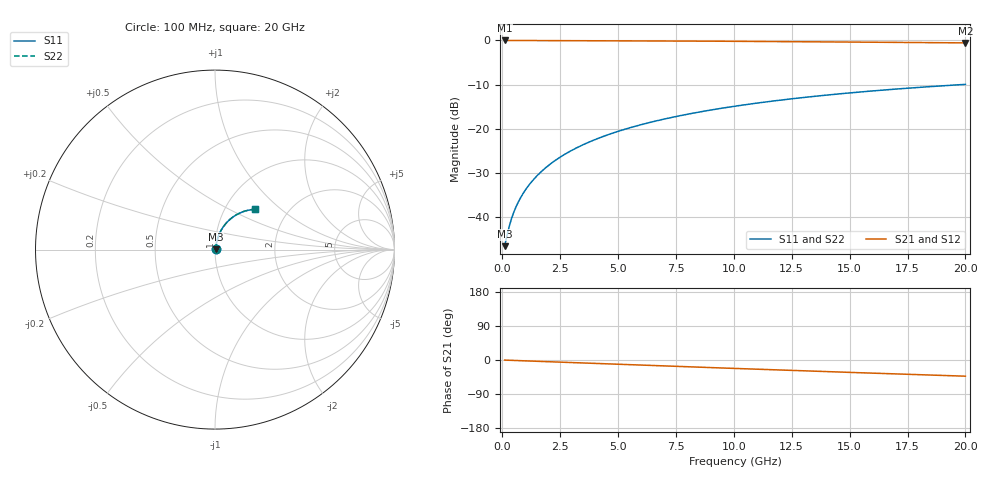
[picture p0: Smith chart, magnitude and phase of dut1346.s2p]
! Touchstone file exported from HFSS 2026.1.0
!  File:  C:/ffzhzh/LocalFiles/Ansys_Project_Files/temp_train_BSMRDL_1346_1783178937_51560.aedt
!  Generated:  11:30:07 PM Jul  4, 2026
!  Design:  BSMRDL
!  Project:  temp_train_BSMRDL_1346_1783178937_51560
! Variables:
!  h_bsmrdl = 2.73um
!  h_ox = 20um
!  h_rdl = 5um
!  h_sub = 80um
!  h_tmrdl = 5um
!  h_tsv = 80um
!  h_via = 3um
!  l_bsmrdl = 667.78um
!  l_sub = 1067.78um
!  l_tmrdl = 200um
!  m_sub = 200um
!  pitch = 38.73um
!  r_tsv = 6um
!  s_tmrdl = 10um
!  w_bsmrdl = 22.14um
!  w_sub = 500um
!  w_tmrdl = 12um
!  x_tsv_center1 = 206um
!  x_tsv_center2 = 895.92um
!  x_tsv_center3 = 1107.92um
!  x_tsv_center4 = 1797.84um
!  x_tsv_center5 = 2009.84um
!  x_tsv_center6 = 2699.76um
# GHz S MA R 50.000000
! Terminal data exported
! Port[1] = BSM_RDL1_1_T1
! Port[2] = BSM_RDL1_1_T2
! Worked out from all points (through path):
!   200 points, 100 MHz to 20 GHz, reference 50 ohm
!   highest |S21| = -0.04 dB at 100 MHz (marker M1); lowest = -0.6 dB at 20 GHz (marker M2)
!   group delay of S21, straight-line fit = 5.94 ps
!   lowest |S11| = -46.5 dB at 100 MHz (marker M3), VSWR 1.01, Z = 50.4 + j0.222 ohm
!   |S11| at or under -10 dB: start of sweep to 19.89 GHz
!   |S22| runs from -46.5 to -10.0 dB; largest |S21 - S12| = 3.5e-15
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0.1  0.004708 27.9  0.9958 -0.2  0.9958 -0.2  0.004708 27.9
! Gamma 0 0 0 0
! Port Impedance 50 0 50 0
0.3  0.007879 54.1  0.9954 -0.7  0.9954 -0.7  0.007879 54.1
0.4  0.009667 59.6  0.9952 -1.0  0.9952 -1.0  0.009667 59.6
0.5  0.01145 63.2  0.995 -1.2  0.995 -1.2  0.01145 63.2
0.6  0.01323 65.8  0.9948 -1.4  0.9948 -1.4  0.01323 65.8
0.8  0.01679 69.5  0.9945 -1.9  0.9945 -1.9  0.01679 69.5
1  0.02036 72.0  0.9943 -2.3  0.9943 -2.3  0.02036 72.0
1.2  0.02396 73.6  0.9941 -2.7  0.9941 -2.7  0.02396 73.6
1.4  0.02759 74.8  0.9939 -3.2  0.9939 -3.2  0.02759 74.8
1.7  0.03307 76.0  0.9936 -3.9  0.9936 -3.9  0.03307 76.0
2.2  0.04226 76.8  0.9931 -5.0  0.9931 -5.0  0.04226 76.8
2.8  0.05332 77.0  0.9924 -6.3  0.9924 -6.3  0.05332 77.0
3.5  0.06619 76.5  0.9914 -7.9  0.9914 -7.9  0.06619 76.5
4.2  0.07899 75.6  0.9902 -9.5  0.9902 -9.5  0.07899 75.7
5  0.09348 74.4  0.9886 -11.3  0.9886 -11.3  0.09348 74.4
5.9  0.1096 72.8  0.9865 -13.2  0.9865 -13.2  0.1096 72.8
6.8  0.1254 71.1  0.9841 -15.2  0.9841 -15.2  0.1254 71.1
8.3  0.1511 68.2  0.9798 -18.5  0.9798 -18.5  0.1511 68.2
10.1  0.1807 64.5  0.9738 -22.4  0.9738 -22.4  0.1807 64.6
13.4  0.2314 57.9  0.9616 -29.4  0.9616 -29.4  0.2314 57.9
16.7  0.2771 51.3  0.9484 -36.1  0.9484 -36.1  0.2771 51.4
20  0.3175 44.9  0.935 -42.7  0.935 -42.7  0.3175 45.0
